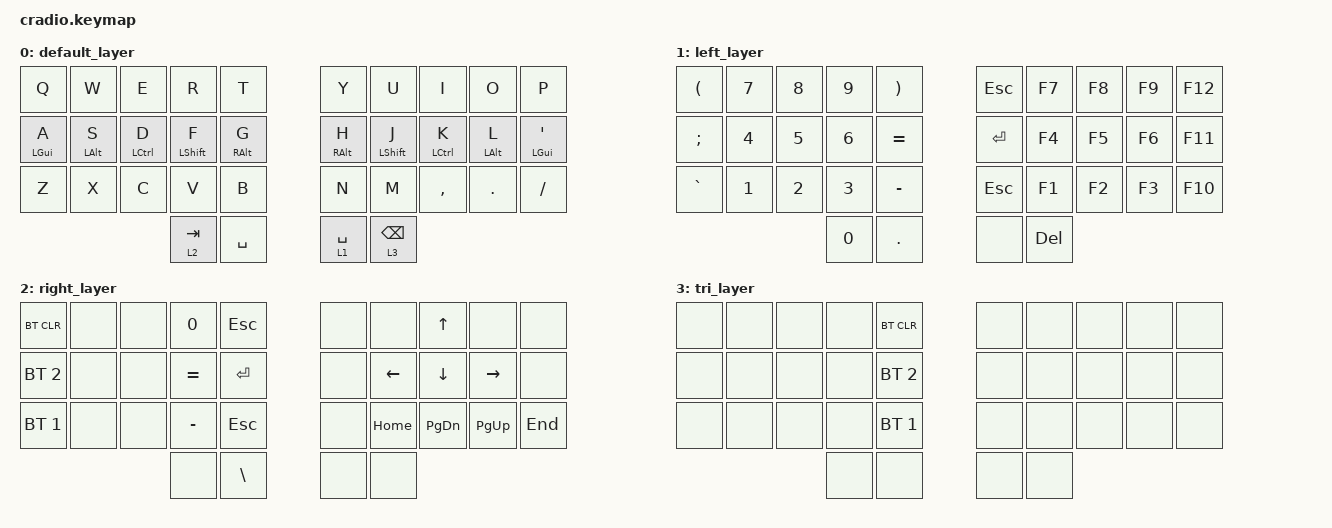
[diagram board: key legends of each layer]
/*
 * Copyright (c) 2020 The ZMK Contributors
 *
 * SPDX-License-Identifier: MIT
 */

#include <behaviors.dtsi>
#include <dt-bindings/zmk/keys.h>
#include <dt-bindings/zmk/bt.h>


&mt {
  quick-tap-ms = <100>;
  global-quick-tap;
  flavor = "tap-preferred";
  tapping-term-ms = <170>;
};

/ { 

    combos {
        compatible = "zmk,combos";
        combo_esc {
            timeout-ms = <50>;
            key-positions = <0 1>;
            bindings = <&kp ESC>;
        };
        
	combo_caps-word {
	timeout-ms = <50>;
	key-positions = <13 16>;
	bindings = <&caps_word>;
	};
        

	combo_minus {
	timeout-ms = <50>;
	key-positions = <23 24>;
	bindings = <&kp MINUS>;
	};
        
    };

        keymap {
                compatible = "zmk,keymap";
                
       		default_layer {
		bindings = <
		&kp Q      &kp W      &kp E       &kp R       &kp T             &kp Y      &kp U       &kp I       &kp O      &kp P 
		&mt LGUI A &mt LALT S &mt LCTRL D &mt LSHFT F &mt RALT G        &mt RALT H &mt LSHFT J &mt LCTRL K &mt LALT L &mt LGUI QUOT
		&kp Z      &kp X      &kp C       &kp V       &kp B             &kp N      &kp M       &kp CMMA    &kp DOT    &kp FSLH
          	                                  &lt 2 TAB   &kp SPC           &lt 1 SPC  &lt 3 BSPC 
		>;
		};

       		left_layer {
		bindings = <
		&kp LPAR    &kp N7    &kp N8    &kp N9    &kp RPAR              &kp ESC &kp F7 &kp F8 &kp F9  &kp F12 
		&kp SEMI    &kp N4    &kp N5    &kp N6    &kp EQUAL             &kp RET  &kp F4 &kp F5 &kp F6  &kp F11 
		&kp GRAVE   &kp N1    &kp N2    &kp N3    &kp MINUS             &kp ESC  &kp F1 &kp F2 &kp F3  &kp F10 
		                                &kp N0    &kp DOT               &none    &kp DEL 
		>;
		};
		
		right_layer {
		bindings = <
		&bt BT_CLR    &none   &none  &kp N0      &kp ESC                      &none  &none     &kp UP    &none      &none 
		&bt BT_SEL 2  &none   &none  &kp EQUAL   &kp RET                       &none  &kp LEFT  &kp DOWN  &kp RIGHT  &none
		&bt BT_SEL 1  &none   &none  &kp MINUS   &kp ESC                       &none  &kp HOME  &kp PG_DN &kp PG_UP  &kp END
		                      &none       &kp BSLH                      &none  &none 
		>;
		};	
		
		tri_layer {
		bindings = <
		&none   &none   &none    &none      &bt BT_CLR                  &none   &none   &none    &none      &none
		&none   &none   &none    &none      &bt BT_SEL 2                &none   &none   &none    &none      &none 
		&none   &none   &none    &none      &bt BT_SEL 1                &none   &none   &none    &none      &none  
				        &none      &none 			&none   &none 
		>;
		};	
        
	};
};


//  _____________________________       _____________________________
// /  0  |  1  |  2  |  3  |  4  \     /   5 |   6 |   7 |   8 |  9  \
// | 10  | 11  | 12  | 13  | 14  |     |  15 |  16 |  17 |  18 | 19  |
// | 20  | 21  | 22  | 23  | 24  |     |  25 |  26 |  27 |  28 | 29  |
//          \   30   |    31     /     \     32    |  33    /
//           --------------------       ---------------------




